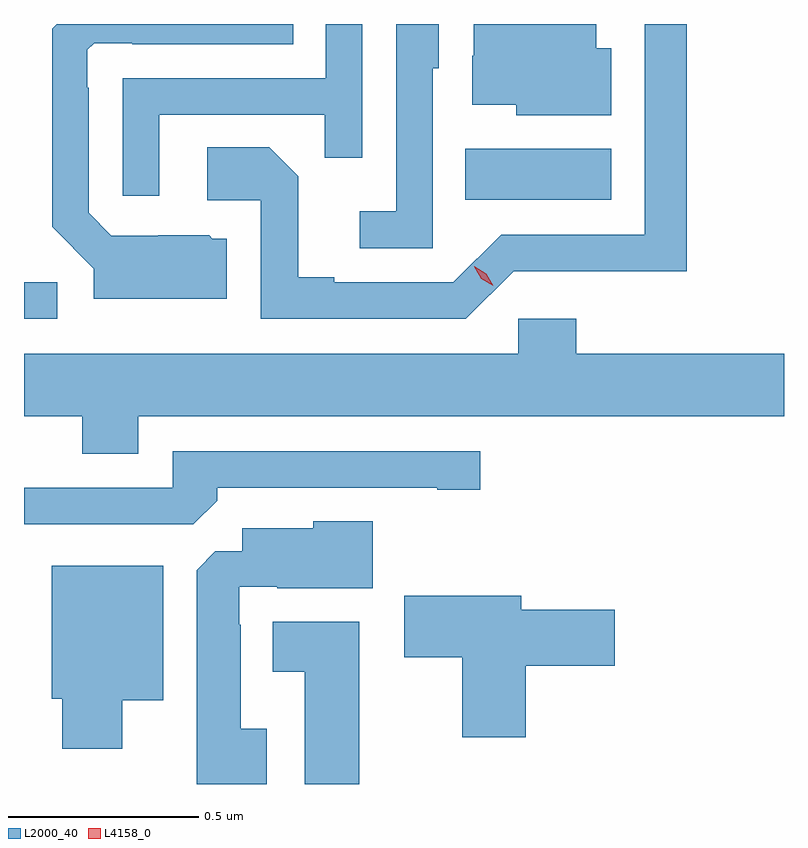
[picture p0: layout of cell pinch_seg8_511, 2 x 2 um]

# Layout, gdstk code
import gdstk
lib = gdstk.Library(unit=1e-6, precision=1e-09)
def R(c, l, rs):  # rectangles x0, y0, x1, y1
    for r in rs: c.add(gdstk.rectangle(r[:2], r[2:], *l))
def P(c, l, *ps):  # polygons
    for p in ps: c.add(gdstk.Polygon(p, *l))
L2000_40 = (2000, 40)
L4158_0 = (4158, 0)

pinch_seg8_511 = lib.new_cell('pinch_seg8_511')
R(pinch_seg8_511, L2000_40, [(154.411,1123.416,154.498,1123.512), (155.572,1123.73,155.956,1123.864)])
P(pinch_seg8_511, L2000_40, [(154.767,1123.953),(155.203,1123.953),(155.203,1123.84),(155.301,1123.84),(155.301,1124.192),(155.205,1124.192),(155.205,1124.049),(154.671,1124.049),(154.671,1123.74),(154.767,1123.74)],
  [(155.956,1124.128),(155.917,1124.128),(155.917,1124.192),(155.595,1124.192),(155.595,1124.108),(155.591,1124.108),(155.591,1123.979),(155.706,1123.979),(155.706,1123.952),(155.956,1123.952)],
  [(155.487,1124.076),(155.502,1124.076),(155.502,1124.192),(155.391,1124.192),(155.391,1123.699),(155.295,1123.699),(155.295,1123.602),(155.487,1123.602)],
  [(155.7,1123.542),(155.922,1123.542),(155.922,1123.541),(156.155,1123.541),(156.155,1124.192),(156.044,1124.192),(156.044,1123.638),(155.667,1123.638),(155.541,1123.512),(155.227,1123.512),(155.227,1123.525),(155.133,1123.525),(155.133,1123.792),(155.057,1123.868),(154.893,1123.868),(154.893,1123.728),(155.034,1123.728),(155.034,1123.416),(155.574,1123.416)],
  [(154.945,1123.627),(154.907,1123.627),(154.898,1123.636),(154.764,1123.636),(154.764,1123.635),(154.641,1123.635),(154.581,1123.695),(154.581,1124.024),(154.578,1124.024),(154.578,1124.124),(154.596,1124.142),(154.696,1124.142),(154.696,1124.139),(155.12,1124.139),(155.12,1124.192),(154.497,1124.192),(154.485,1124.18),(154.485,1123.658),(154.595,1123.548),(154.595,1123.469),(154.945,1123.469)],
  [(154.711,1123.16),(156.411,1123.16),(156.411,1123.324),(155.864,1123.324),(155.864,1123.417),(155.712,1123.417),(155.712,1123.324),(154.411,1123.324),(154.411,1123.16),(154.564,1123.16),(154.564,1123.061),(154.711,1123.061)],
  [(154.919,1122.938),(154.919,1122.972),(155.498,1122.972),(155.498,1122.967),(155.611,1122.967),(155.611,1123.068),(154.803,1123.068),(154.803,1122.972),(154.411,1122.972),(154.411,1122.876),(154.857,1122.876)],
  [(155.05,1122.337),(154.981,1122.337),(154.981,1122.611),(154.977,1122.611),(154.977,1122.711),(155.077,1122.711),(155.077,1122.707),(155.329,1122.707),(155.329,1122.883),(155.172,1122.883),(155.172,1122.865),(154.985,1122.865),(154.985,1122.804),(154.914,1122.804),(154.865,1122.755),(154.865,1122.192),(155.05,1122.192)],
  [(154.669,1122.413),(154.777,1122.413),(154.777,1122.766),(154.484,1122.766),(154.484,1122.417),(154.511,1122.417),(154.511,1122.285),(154.669,1122.285)],
  [(155.732,1122.503),(155.965,1122.503),(155.965,1122.65),(155.719,1122.65),(155.719,1122.688),(155.412,1122.688),(155.412,1122.526),(155.564,1122.526),(155.564,1122.315),(155.732,1122.315)],
  [(155.293,1122.619),(155.066,1122.619),(155.066,1122.488),(155.15,1122.488),(155.15,1122.192),(155.293,1122.192)])
P(pinch_seg8_511, L4158_0, [(155.646,1123.503),(155.614,1123.521),(155.596,1123.553),(155.596,1123.554),(155.596,1123.554),(155.628,1123.535),(155.646,1123.503),(155.646,1123.503)])

lib.write_gds('pinch_seg8_511.gds')
